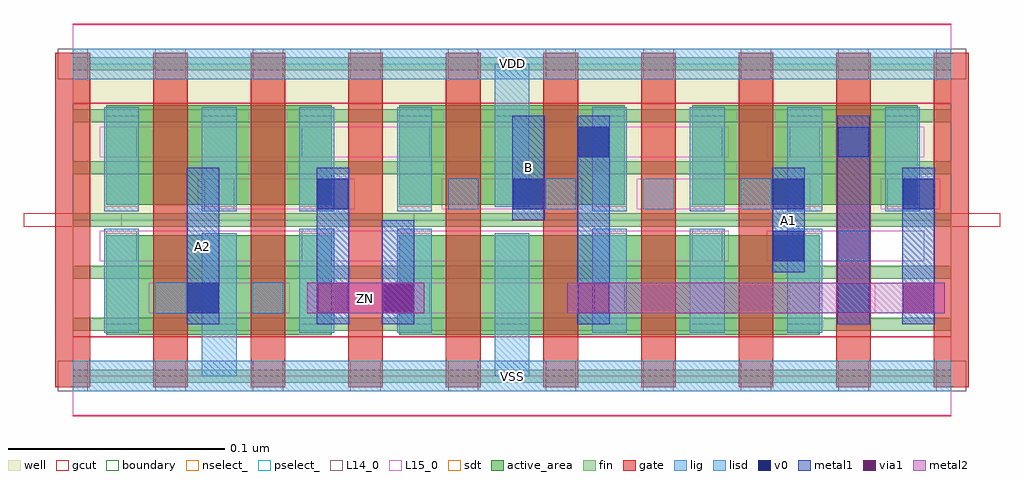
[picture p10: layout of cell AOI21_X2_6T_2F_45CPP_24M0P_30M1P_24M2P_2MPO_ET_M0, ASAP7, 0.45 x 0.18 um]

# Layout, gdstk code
import gdstk
lib = gdstk.Library(unit=1e-6, precision=2.5e-10)
def R(c, l, rs):  # rectangles x0, y0, x1, y1
    for r in rs: c.add(gdstk.rectangle(r[:2], r[2:], *l))
def A(c, l, x, y, w, h, nx, ny, dx, dy):  # array of equal rectangles
    R(c, l, [(x+i*dx, y+j*dy, x+i*dx+w, y+j*dy+h) for i in range(nx) for j in range(ny)])
well = (1, 0)
fin = (2, 0)
gate = (7, 0)
gcut = (10, 0)
active_area = (11, 0)
nselect_ = (12, 0)
pselect_ = (13, 0)
L14_0 = (14, 0)
L15_0 = (15, 0)
lig = (16, 0)
lisd = (17, 0)
v0 = (18, 0)
metal1 = (19, 0)
metal2 = (20, 0)
via1 = (21, 0)
sdt = (88, 0)
boundary = (100, 0)

aoi21_x2_6t_2f_45cpp_24m = lib.new_cell('AOI21_X2_6T_2F_45CPP_24M0P_30M1P_24M2P_2MPO_ET_M0')
R(aoi21_x2_6t_2f_45cpp_24m, well, [(0,0.072,0.405,0.144)])
A(aoi21_x2_6t_2f_45cpp_24m, fin, 0, -0.003, 0.405, 0.006, 1, 7, 0, 0.024)
A(aoi21_x2_6t_2f_45cpp_24m, gate, -0.008, -0.005, 0.016, 0.154, 10, 1, 0.045, 0)
R(aoi21_x2_6t_2f_45cpp_24m, gcut, [(0,-0.0185,0.405,0.0185), (-0.0225,0.069,0.0225,0.075), (0.1125,0.069,0.1575,0.075), (0.3825,0.069,0.4275,0.075), (0,0.1255,0.405,0.1625)])
A(aoi21_x2_6t_2f_45cpp_24m, active_area, 0.0155, 0.079, 0.104, 0.046, 3, 1, 0.135, 0)
R(aoi21_x2_6t_2f_45cpp_24m, active_area, [(0.0155,0.019,0.1195,0.065), (0.1505,0.019,0.2545,0.065), (0.2405,0.019,0.3445,0.065)])
R(aoi21_x2_6t_2f_45cpp_24m, nselect_, [(0,0,0.405,0.072)])
R(aoi21_x2_6t_2f_45cpp_24m, pselect_, [(0,0.072,0.405,0.144)])
A(aoi21_x2_6t_2f_45cpp_24m, L14_0, -0.007, -0.007, 0.014, 0.014, 10, 2, 0.045, 0.144)
A(aoi21_x2_6t_2f_45cpp_24m, L14_0, 0.1505, 0.029, 0.014, 0.014, 3, 1, 0.09, 0)
A(aoi21_x2_6t_2f_45cpp_24m, L14_0, 0.173, 0.077, 0.014, 0.014, 4, 1, 0.045, 0)
A(aoi21_x2_6t_2f_45cpp_24m, L14_0, 0.2405, 0.101, 0.014, 0.014, 3, 1, 0.045, 0)
R(aoi21_x2_6t_2f_45cpp_24m, L14_0, [(0.038,0.029,0.052,0.043), (0.083,0.029,0.097,0.043), (0.0155,0.053,0.0295,0.067), (0.1055,0.053,0.1195,0.067), (0.2855,0.053,0.2995,0.067), (0.353,0.053,0.367,0.067), (0.0605,0.077,0.0745,0.091), (0.3755,0.077,0.3895,0.091), (0.0155,0.101,0.0295,0.115), (0.1055,0.101,0.1195,0.115), (0.1505,0.101,0.1645,0.115)])
R(aoi21_x2_6t_2f_45cpp_24m, L15_0, [(0,-0.018,0.405,0.018), (0.035,0.029,0.1,0.043), (0.14,0.029,0.37,0.043), (0.0125,0.053,0.3025,0.067), (0.32,0.053,0.3925,0.067), (0.0575,0.077,0.13,0.091), (0.17,0.077,0.235,0.091), (0.26,0.077,0.34,0.091), (0.3725,0.077,0.4,0.091), (0.0125,0.101,0.3025,0.115), (0.32,0.101,0.3925,0.115), (0,0.126,0.405,0.162)])
A(aoi21_x2_6t_2f_45cpp_24m, lig, 0.173, 0.077, 0.014, 0.014, 4, 1, 0.045, 0)
R(aoi21_x2_6t_2f_45cpp_24m, lig, [(0,-0.007,0.405,0.007), (0.038,0.029,0.052,0.043), (0.083,0.029,0.097,0.043), (0.353,0.053,0.367,0.067), (0,0.137,0.405,0.151)])
A(aoi21_x2_6t_2f_45cpp_24m, lisd, 0.2395, 0.02, 0.016, 0.048, 3, 1, 0.045, 0)
A(aoi21_x2_6t_2f_45cpp_24m, lisd, 0.0145, 0.076, 0.016, 0.048, 4, 1, 0.045, 0)
A(aoi21_x2_6t_2f_45cpp_24m, lisd, 0.2395, 0.076, 0.016, 0.048, 4, 1, 0.045, 0)
R(aoi21_x2_6t_2f_45cpp_24m, lisd, [(0.0595,0,0.0755,0.066), (0.1945,0,0.2105,0.066), (0.0145,0.02,0.0305,0.068), (0.1045,0.02,0.1205,0.068), (0.1495,0.02,0.1655,0.068), (0.1945,0.078,0.2105,0.144)])
R(aoi21_x2_6t_2f_45cpp_24m, v0, [(0.053,0.029,0.067,0.043), (0.143,0.029,0.157,0.043), (0.353,0.029,0.367,0.043), (0.323,0.053,0.337,0.067), (0.113,0.077,0.127,0.091), (0.203,0.077,0.217,0.091), (0.323,0.077,0.337,0.091), (0.383,0.077,0.397,0.091), (0.233,0.101,0.247,0.115), (0.353,0.101,0.367,0.115)])
R(aoi21_x2_6t_2f_45cpp_24m, metal1, [(0.0525,0.024,0.0675,0.096), (0.1125,0.024,0.1275,0.096), (0.1425,0.024,0.1575,0.072), (0.2325,0.024,0.2475,0.12), (0.3525,0.024,0.3675,0.12), (0.3825,0.024,0.3975,0.096), (0.3225,0.048,0.3375,0.096), (0.2025,0.072,0.2175,0.12)])
R(aoi21_x2_6t_2f_45cpp_24m, metal2, [(0.108,0.029,0.162,0.043), (0.228,0.029,0.402,0.043)])
R(aoi21_x2_6t_2f_45cpp_24m, via1, [(0.113,0.029,0.127,0.043), (0.143,0.029,0.157,0.043), (0.233,0.029,0.247,0.043), (0.383,0.029,0.397,0.043)])
A(aoi21_x2_6t_2f_45cpp_24m, sdt, 0.0145, 0.024, 0.016, 0.042, 8, 1, 0.045, 0)
A(aoi21_x2_6t_2f_45cpp_24m, sdt, 0.0145, 0.078, 0.016, 0.042, 9, 1, 0.045, 0)
R(aoi21_x2_6t_2f_45cpp_24m, boundary, [(0,0,0.405,0.144)])
aoi21_x2_6t_2f_45cpp_24m.add(gdstk.Label('A1', (0.33,0.072), layer=19, texttype=251))
aoi21_x2_6t_2f_45cpp_24m.add(gdstk.Label('A2', (0.06,0.06), layer=19, texttype=251))
aoi21_x2_6t_2f_45cpp_24m.add(gdstk.Label('ZN', (0.135,0.036), layer=20, texttype=251))
aoi21_x2_6t_2f_45cpp_24m.add(gdstk.Label('B', (0.21,0.096), layer=19, texttype=251))
aoi21_x2_6t_2f_45cpp_24m.add(gdstk.Label('VDD', (0.2025,0.144), layer=15, texttype=251))
aoi21_x2_6t_2f_45cpp_24m.add(gdstk.Label('VSS', (0.2025,0), layer=15, texttype=251))
aoi21_x2_6t_2f_45cpp_24m.add(gdstk.Label('VDD', (0.2025,0.144), layer=1, texttype=251))
aoi21_x2_6t_2f_45cpp_24m.add(gdstk.Label('VSS', (0.2025,0), layer=3, texttype=251))

lib.write_gds('AOI21_X2_6T_2F_45CPP_24M0P_30M1P_24M2P_2MPO_ET_M0.gds')
